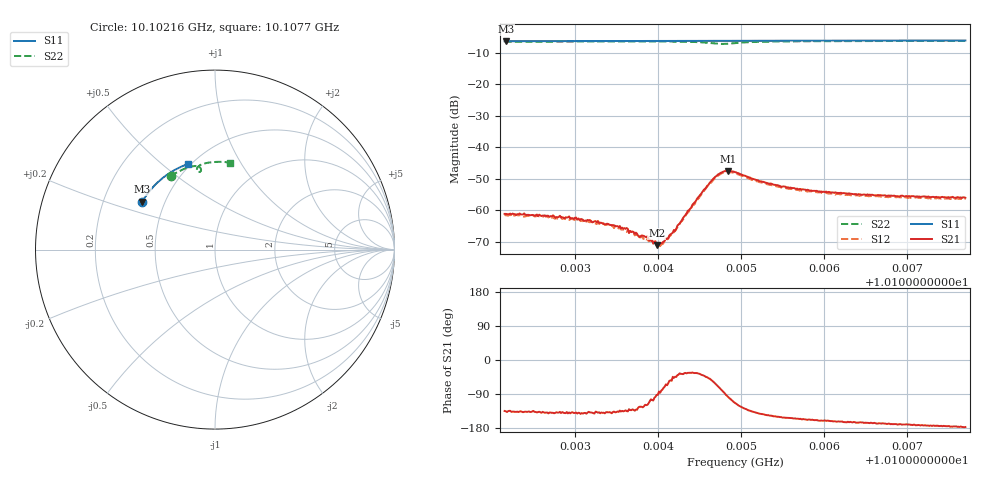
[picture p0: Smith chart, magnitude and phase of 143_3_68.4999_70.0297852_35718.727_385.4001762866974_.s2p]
#  HZ  S  RI  R  50.00
! Rohde & Schwarz Vector Network Analyzer
! Rohde-Schwarz,ZNB20-2Port,1311601062101988,3.16
! Created: UTC 3/20/2024, 4:54:58 PM
! freq[Hz]  re:S11  im:S11  re:S21  im:S21  re:S12  im:S12  re:S22  im:S22
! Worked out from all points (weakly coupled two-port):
!   401 points, 10.10216 GHz to 10.1077 GHz, reference 50 ohm
!   highest |S21| = -47.50 dB at 10.10484 GHz (marker M1); lowest = -71.1 dB at 10.10398 GHz (marker M2)
!   lowest |S11| = -6.3 dB at 10.10217 GHz (marker M3), VSWR 2.89, Z = 18.7 + j13.1 ohm
!   |S11| at or under -10 dB: nowhere
!   |S22| runs from -7.1 to -6.2 dB; largest |S21 - S12| = 0.00044
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1.0102156e10  -0.4061 0.2665  -0.000615 -0.000625  -0.000525 -0.000633  -0.2464 0.41
1.0102169e10  -0.4055 0.2673  -0.000624 -0.000616  -0.000558 -0.000635  -0.2455 0.4102
1.010264e10  -0.3902 0.2916  -0.000628 -0.00054  -0.000561 -0.000586  -0.2192 0.4265
1.0103084e10  -0.3746 0.3137  -0.000556 -0.000466  -0.0005 -0.00049  -0.193 0.4402
1.0103374e10  -0.3636 0.3276  -0.000446 -0.000403  -0.000408 -0.000422  -0.1753 0.4484
1.010361e10  -0.3544 0.3385  -0.000345 -0.000373  -0.00029 -0.000371  -0.1599 0.4543
1.0103776e10  -0.3477 0.346  -0.000206 -0.000311  -0.000208 -0.000327  -0.1488 0.458
1.0103845e10  -0.3447 0.3491  -0.000179 -0.000334  -0.000148 -0.000321  -0.1437 0.4595
1.0103915e10  -0.342 0.352  -7.94e-05 -0.00032  -8.79e-05 -0.000306  -0.1389 0.461
1.0103984e10  -0.339 0.3552  -9.45e-06 -0.000278  5.54e-06 -0.000303  -0.1336 0.4622
1.0104012e10  -0.3379 0.3563  3.44e-05 -0.000291  2.63e-05 -0.000296  -0.1318 0.4627
1.0104053e10  -0.3362 0.3582  6.38e-05 -0.000299  9.1e-05 -0.000275  -0.1285 0.4634
1.0104192e10  -0.3302 0.3641  0.000332 -0.000357  0.000337 -0.000295  -0.1171 0.4649
1.0104441e10  -0.3193 0.3747  0.0011 -0.000757  0.00111 -0.000599  -0.0941 0.4631
1.0104663e10  -0.3092 0.3836  0.00173 -0.00263  0.00184 -0.0024  -0.0775 0.4441
1.010476e10  -0.3047 0.3873  0.00082 -0.00388  0.00116 -0.00366  -0.0841 0.433
1.0104843e10  -0.3011 0.3905  -0.000545 -0.00418  -0.000159 -0.00407  -0.0949 0.4337
1.0104926e10  -0.2974 0.3937  -0.00158 -0.00371  -0.0012 -0.0037  -0.1007 0.4424
1.0105341e10  -0.2774 0.4095  -0.00221 -0.00145  -0.00199 -0.00159  -0.0769 0.4736
1.0105854e10  -0.252 0.4272  -0.00188 -0.00078  -0.00176 -0.000912  -0.0394 0.484
1.0106782e10  -0.2031 0.4546  -0.00167 -0.000359  -0.00158 -0.000464  0.0232 0.489
1.0107696e10  -0.1521 0.4763  -0.00158 -8.65e-05  -0.00151 -0.000234  0.0822 0.485
